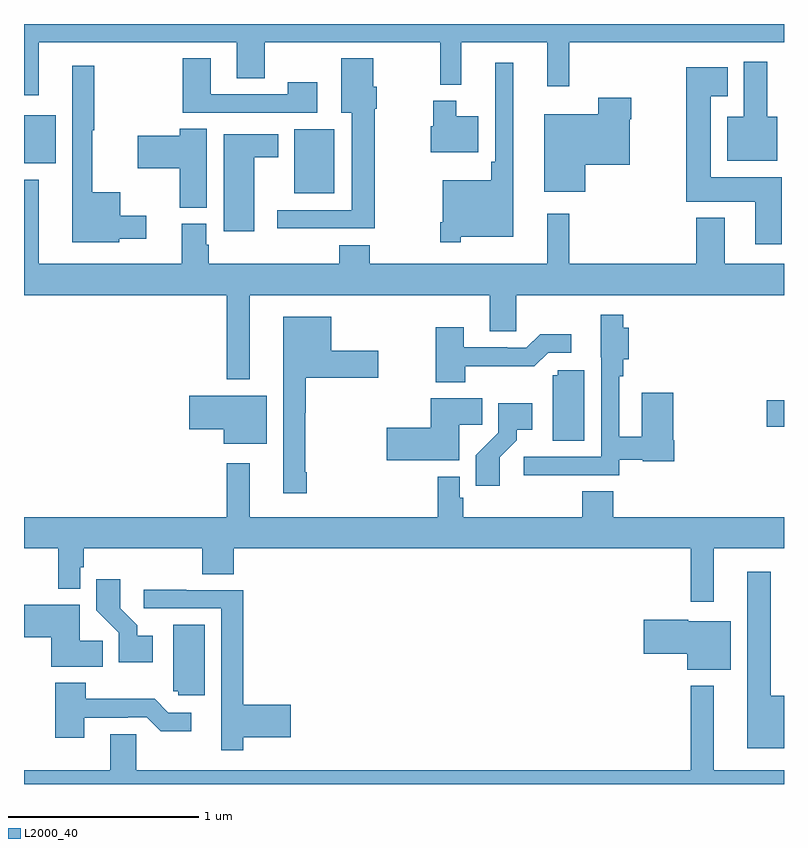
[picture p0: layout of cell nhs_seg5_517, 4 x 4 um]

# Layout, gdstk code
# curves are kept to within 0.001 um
import gdstk
lib = gdstk.Library(unit=1e-6, precision=1e-09)
def R(c, l, rs):  # rectangles x0, y0, x1, y1
    for r in rs: c.add(gdstk.rectangle(r[:2], r[2:], *l))
def P(c, l, *ps):  # polygons
    for p in ps: c.add(gdstk.Polygon(p, *l))
L2000_40 = (2000, 40)

nhs_seg5_517 = lib.new_cell('nhs_seg5_517')
R(nhs_seg5_517, L2000_40, [(146.91,910.678,147,910.82), (144.422,911.909,144.634,912.244), (143,912.065,143.167,912.319)])
P(nhs_seg5_517, L2000_40, [(143.077,912.704),(144.119,912.704),(144.119,912.514),(144.267,912.514),(144.267,912.704),(145.191,912.704),(145.191,912.479),(145.301,912.479),(145.301,912.704),(145.754,912.704),(145.754,912.471),(145.871,912.471),(145.871,912.704),(147,912.704),(147,912.799),(143,912.799),(143,912.423),(143.077,912.423)],
  [(144.544,912.493),(144.388,912.493),(144.388,912.429),(143.983,912.429),(143.983,912.619),(143.836,912.619),(143.836,912.333),(144.544,912.333)],
  [(144.846,912.354),(144.856,912.354),(144.856,912.468),(144.838,912.468),(144.838,912.619),(144.671,912.619),(144.671,912.332),(144.725,912.332),(144.725,911.82),(144.333,911.82),(144.333,911.723),(144.846,911.723)],
  [(146.965,912.31),(146.911,912.31),(146.911,912.601),(146.789,912.601),(146.789,912.31),(146.702,912.31),(146.702,912.08),(146.965,912.08)],
  [(145.299,911.678),(145.576,911.678),(145.576,912.595),(145.479,912.595),(145.479,912.073),(145.459,912.073),(145.459,911.977),(145.205,911.977),(145.205,911.755),(145.191,911.755),(145.191,911.651),(145.299,911.651)],
  [(143.502,911.669),(143.644,911.669),(143.644,911.791),(143.506,911.791),(143.506,911.914),(143.359,911.914),(143.359,912.239),(143.369,912.239),(143.369,912.58),(143.255,912.58),(143.255,911.651),(143.502,911.651)],
  [(146.989,911.992),(146.614,911.992),(146.614,912.419),(146.704,912.419),(146.704,912.571),(146.485,912.571),(146.485,911.864),(146.849,911.864),(146.849,911.64),(146.989,911.64)],
  [(145.954,912.059),(146.188,912.059),(146.188,912.299),(146.196,912.299),(146.196,912.412),(146.023,912.412),(146.023,912.325),(145.739,912.325),(145.739,911.915),(145.954,911.915)],
  [(145.39,912.313),(145.276,912.313),(145.276,912.394),(145.154,912.394),(145.154,912.261),(145.142,912.261),(145.142,912.125),(145.39,912.125)],
  [(143.962,912.248),(143.821,912.248),(143.821,912.212),(143.598,912.212),(143.598,912.041),(143.821,912.041),(143.821,911.833),(143.962,911.833)],
  [(144.211,912.098),(144.337,912.098),(144.337,912.22),(144.05,912.22),(144.05,911.708),(144.211,911.708)],
  [(144.187,911.372),(145.451,911.372),(145.451,911.182),(145.59,911.182),(145.59,911.372),(147,911.372),(147,911.536),(146.689,911.536),(146.689,911.779),(146.537,911.779),(146.537,911.536),(145.871,911.536),(145.871,911.8),(145.754,911.8),(145.754,911.536),(144.819,911.536),(144.819,911.635),(144.659,911.635),(144.659,911.536),(143.972,911.536),(143.972,911.637),(143.959,911.637),(143.959,911.748),(143.831,911.748),(143.831,911.536),(143.077,911.536),(143.077,911.98),(143,911.98),(143,911.372),(144.066,911.372),(144.066,910.928),(144.187,910.928)],
  [(145.853,910.425),(146.133,910.425),(146.133,910.506),(146.256,910.506),(146.256,910.498),(146.423,910.498),(146.423,910.609),(146.418,910.609),(146.418,910.858),(146.252,910.858),(146.252,910.627),(146.133,910.627),(146.133,910.946),(146.153,910.946),(146.153,911.035),(146.183,911.035),(146.183,911.2),(146.153,911.2),(146.153,911.269),(146.036,911.269),(146.036,911.046),(146.037,911.046),(146.037,910.521),(145.629,910.521),(145.629,910.423),(145.853,910.423)],
  [(144.487,910.441),(144.479,910.441),(144.479,910.753),(144.484,910.753),(144.484,910.937),(144.865,910.937),(144.865,911.079),(144.616,911.079),(144.616,911.257),(144.365,911.257),(144.365,910.329),(144.487,910.329)],
  [(145.323,910.998),(145.685,910.997),(145.758,911.07),(145.879,911.07),(145.879,911.167),(145.717,911.167),(145.644,911.094),(145.544,911.094),(145.544,911.097),(145.315,911.097),(145.315,911.203),(145.168,911.203),(145.168,910.913),(145.323,910.913)],
  [(145.948,910.977),(145.809,910.977),(145.809,910.95),(145.784,910.95),(145.784,910.606),(145.948,910.606)],
  [(144.277,910.843),(143.871,910.843),(143.871,910.666),(144.05,910.666),(144.05,910.589),(144.277,910.589)],
  [(145.291,910.69),(145.412,910.69),(145.412,910.828),(145.142,910.828),(145.142,910.673),(144.909,910.673),(144.909,910.502),(145.291,910.502)],
  [(145.504,910.519),(145.594,910.609),(145.594,910.664),(145.675,910.664),(145.675,910.804),(145.497,910.804),(145.497,910.649),(145.378,910.53),(145.378,910.368),(145.504,910.368)],
  [(146.629,910.04),(147,910.04),(147,910.204),(146.102,910.204),(146.102,910.34),(145.937,910.34),(145.937,910.204),(145.313,910.204),(145.313,910.305),(145.293,910.305),(145.293,910.417),(145.177,910.417),(145.177,910.204),(144.187,910.204),(144.187,910.486),(144.066,910.486),(144.066,910.204),(143,910.204),(143,910.04),(143.179,910.04),(143.179,909.827),(143.295,909.827),(143.295,909.939),(143.315,909.939),(143.315,910.04),(143.939,910.04),(143.939,909.904),(144.104,909.904),(144.104,910.04),(146.508,910.04),(146.508,909.759),(146.629,909.759)],
  [(147,909.263),(146.929,909.263),(146.929,909.916),(146.807,909.916),(146.807,908.987),(147,908.987)],
  [(143.677,909.58),(143.596,909.58),(143.596,909.635),(143.506,909.725),(143.506,909.877),(143.38,909.877),(143.38,909.714),(143.499,909.595),(143.499,909.44),(143.677,909.44)],
  [(144.155,909.044),(144.403,909.044),(144.403,909.215),(144.155,909.215),(144.155,909.819),(143.855,909.819),(143.855,909.822),(143.631,909.822),(143.631,909.723),(144.039,909.723),(144.039,909.198),(144.038,909.198),(144.038,908.976),(144.155,908.976)],
  [(143.414,909.554),(143.293,909.554),(143.293,909.742),(143,909.742),(143,909.572),(143.144,909.572),(143.144,909.416),(143.414,909.416)],
  [(146.719,909.655),(146.496,909.655),(146.496,909.663),(146.262,909.663),(146.262,909.485),(146.492,909.485),(146.492,909.401),(146.719,909.401)],
  [(143.95,909.637),(143.786,909.637),(143.786,909.288),(143.811,909.288),(143.811,909.267),(143.95,909.267)],
  [(143.317,909.147),(143.546,909.147),(143.546,909.15),(143.646,909.15),(143.719,909.077),(143.881,909.077),(143.881,909.174),(143.76,909.174),(143.687,909.247),(143.325,909.247),(143.325,909.331),(143.165,909.331),(143.165,909.042),(143.317,909.042)],
  [(147,908.872),(146.629,908.872),(146.629,909.316),(146.508,909.316),(146.508,908.872),(143.592,908.872),(143.592,909.062),(143.453,909.062),(143.453,908.872),(143,908.872),(143,908.799),(147,908.799)])

lib.write_gds('nhs_seg5_517.gds')
